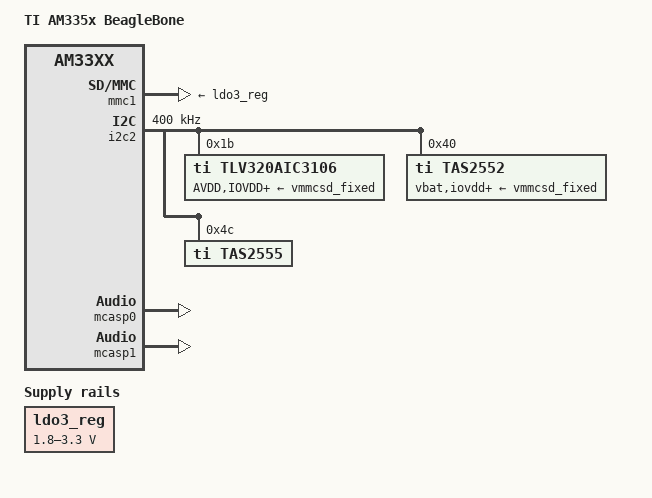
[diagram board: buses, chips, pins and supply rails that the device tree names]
/*
 * Copyright (C) 2012 Texas Instruments Incorporated - http://www.ti.com/
 *
 * This program is free software; you can redistribute it and/or modify
 * it under the terms of the GNU General Public License version 2 as
 * published by the Free Software Foundation.
 */
/dts-v1/;

#include "am33xx.dtsi"
#include "am335x-bone-common.dtsi"
#include <dt-bindings/sound/ti-mcasp.h>
#include <dt-bindings/sound/tas2555.h>

/ {
	model = "TI AM335x BeagleBone";
	compatible = "ti,am335x-bone", "ti,am33xx";

	sound0: sound@0 {
		compatible = "simple-audio-card";
		simple-audio-card,name = "BeagleBone-Cape";
		simple-audio-card,widgets =
			"Headphone", "Headphone Jack",
			"Line", "Line In";
		simple-audio-card,routing =
			"Headphone Jack",	"HPLOUT",
			"Headphone Jack",	"HPROUT",
			"LINE1L",		"Line In",
			"LINE1R",		"Line In";
		simple-audio-card,format = "i2s";
		simple-audio-card,bitclock-master = <&sound0_master>;
		simple-audio-card,frame-master = <&sound0_master>;

		status = "disabled";

		sound0_master: simple-audio-card,cpu {
			sound-dai = <&mcasp0>;
			system-clock-frequency = <24000000>;
			system-clock-id = <MCASP_CLK_HCLK_AUXCLK>;
		};

		simple-audio-card,codec {
			sound-dai = <&tlv320aic3106>;
			clocks = <&clkout2_ck>;
		};
	};

	sound1: sound@1 {
		compatible = "simple-audio-card";
		simple-audio-card,name = "BeagleBone-TAS2552";
		simple-audio-card,widgets =
			"Speaker", "Speaker Port";
		simple-audio-card,routing =
			"Speaker Port",	"OUT",
			"Speaker Port",	"OUT";
		simple-audio-card,format = "i2s";
		simple-audio-card,bitclock-master = <&sound1_master>;
		simple-audio-card,frame-master = <&sound1_master>;

		status = "disabled";

		sound1_master: simple-audio-card,cpu {
			sound-dai = <&mcasp0>;
			system-clock-frequency = <24000000>;
			system-clock-id = <MCASP_CLK_HCLK_AUXCLK>;
		};

		simple-audio-card,codec {
			sound-dai = <&tas2552>;
			clocks = <&clkout2_ck>;
		};
	};

	sound2: sound@2 {
		compatible = "simple-audio-card";
		simple-audio-card,name = "BeagleBone-TAS2555";
		simple-audio-card,widgets =
			"Speaker", "Speaker Port";
		simple-audio-card,routing =
			"Speaker Port",	"OUT",
			"Speaker Port",	"OUT";
		simple-audio-card,format = "i2s";
		simple-audio-card,bitclock-master = <&sound2_master>;
		simple-audio-card,frame-master = <&sound2_master>;

		status = "okay";

		sound2_master: simple-audio-card,cpu {
			sound-dai = <&mcasp0>;
			system-clock-frequency = <24000000>;
			system-clock-id = <MCASP_CLK_HCLK_AUXCLK>;
		};

		simple-audio-card,codec {
			sound-dai = <&tas2555 TAS2555_DAI_ASI1>;
			clocks = <&clkout2_ck>;
		};
	};
};

&am33xx_pinmux {
	mcasp0_pins: mcasp0_pins {
		pinctrl-single,pins = <
			0x194 (PIN_INPUT_PULLDOWN | MUX_MODE0) /* mcasp0_fsx.mcasp0_fsx */
			0x190 (PIN_INPUT_PULLDOWN | MUX_MODE0) /* mcasp0_aclkx.mcasp0_aclkx */
			0x1ac (PIN_OUTPUT_PULLDOWN | MUX_MODE2) /* mcasp0_ahclkx.mcasp0_axr3 */
			0x19c (PIN_INPUT_PULLDOWN | MUX_MODE2) /* mcasp0_ahclkr.mcasp0_axr2 */
		>;
	};

	mcasp0_pins_sleep: mcasp0_pins_sleep {
		pinctrl-single,pins = <
			0x194 (PIN_INPUT_PULLDOWN | MUX_MODE7)
			0x190 (PIN_INPUT_PULLDOWN | MUX_MODE7)
//			0x1ac (PIN_INPUT_PULLDOWN | MUX_MODE7)
			0x1ac (PIN_OUTPUT_PULLDOWN | MUX_MODE3) /* mcasp0_ahclkx.mcasp1_axr1 */
			0x19c (PIN_INPUT_PULLDOWN | MUX_MODE7)
		>;
	};

	mcasp1_pins: mcasp1_pins {
		pinctrl-single,pins = <
			0x1a4 (PIN_OUTPUT_PULLDOWN | MUX_MODE3) /* mcasp0_fsr.mcasp1_fsx */
			0x1a0 (PIN_OUTPUT_PULLDOWN | MUX_MODE3) /* mcasp0_aclkr.mcasp1_aclkx */
//			0x1a8 (PIN_OUTPUT_PULLDOWN | MUX_MODE2) /* mcasp0_axr1.mcasp1_axr0 */
//			0x1ac (PIN_OUTPUT_PULLDOWN | MUX_MODE3) /* mcasp0_ahclkx.mcasp1_axr1 */
		>;
	};

	mcasp1_pins_sleep: mcasp1_pins_sleep {
		pinctrl-single,pins = <
			0x1a4 (PIN_INPUT_PULLDOWN | MUX_MODE7)
			0x1a0 (PIN_INPUT_PULLDOWN | MUX_MODE7)
//			0x1a8 (PIN_INPUT_PULLDOWN | MUX_MODE7)
//			0x1ac (PIN_INPUT_PULLDOWN | MUX_MODE7)
			0x164 (PIN_OUTPUT | MUX_MODE7) /* ecap0_in_pwm0_out.gpio0_7*/
		>;
	};

	i2c2_pins: pinmux_i2c2_pins {
		pinctrl-single,pins = <
			0x178 (PIN_INPUT_PULLUP | MUX_MODE3)	/* uart1_ctsn.i2c2_sda */
			0x17c (PIN_INPUT_PULLUP | MUX_MODE3)	/* uart1_rtsn.i2c2_scl */
		>;
	};
};

&sysclkout_pre_ck {
	assigned-clocks = <&sysclkout_pre_ck>;
	assigned-clock-parents = <&lcd_gclk>;
};

&clkout2_div_ck {
	assigned-clocks = <&clkout2_div_ck>;
//	assigned-clock-rates = <12000000>; /* 12MHz */
	assigned-clock-rates = <8000000>; /* 8MHz */
};

&ldo3_reg {
	regulator-min-microvolt = <1800000>;
	regulator-max-microvolt = <3300000>;
	regulator-always-on;
};

&mmc1 {
	vmmc-supply = <&ldo3_reg>;
};

&i2c2 {
	pinctrl-names = "default";
	pinctrl-0 = <&i2c2_pins>;

	status = "okay";
	clock-frequency = <400000>;

	tlv320aic3106: tlv320aic3106@1b {
		#sound-dai-cells = <0>;
		compatible = "ti,tlv320aic3106";
		reg = <0x1b>;
		status = "okay";
		adc-settle-ms = <40>;

		AVDD-supply = <&vmmcsd_fixed>;
		IOVDD-supply = <&vmmcsd_fixed>;
		DRVDD-supply = <&vmmcsd_fixed>;
		DVDD-supply = <&vmmcsd_fixed>;
	};

	tlv320aic3253: tlv320aic3253@18 {
		#sound-dai-cells = <0>;
		compatible = "ti,tlv320aic3253";
		reg = <0x18>;
//		status = "okay";
		status = "disabled";
	};

	tas2552: tas2552@40 { // A0=0
		#sound-dai-cells = <0>;
		compatible = "ti,tas2552";
		reg = <0x40>; // A0 =0
		status = "okay";

		vbat-supply = <&vmmcsd_fixed>;
		iovdd-supply = <&vmmcsd_fixed>;
		avdd-supply = <&vmmcsd_fixed>;
	};

	tas2555: tas2555@4c {
		#sound-dai-cells = <1>;
		compatible = "ti,tas2555";
		reg = <0x4c>;
		status = "okay";
	};

};

&mcasp0 {
	#sound-dai-cells = <0>;
	pinctrl-names = "default", "sleep";
	pinctrl-0 = <&mcasp0_pins>;
	pinctrl-1 = <&mcasp0_pins_sleep>;

	status = "okay";

	op-mode = <0>;	/* MCASP_IIS_MODE */
	tdm-slots = <2>;
	/* 4 serializers */
	serial-dir = <	/* 0: INACTIVE, 1: TX, 2: RX */
		0 0 2 1
	>;
	tx-num-evt = <32>;
	rx-num-evt = <32>;
};

&mcasp1 {
	#sound-dai-cells = <0>;
	pinctrl-names = "default", "sleep";
	pinctrl-0 = <&mcasp1_pins>;
	pinctrl-1 = <&mcasp1_pins_sleep>;

	status = "okay";

	op-mode = <0>;	/* MCASP_IIS_MODE */
	tdm-slots = <2>;
	/* 4 serializers */
	serial-dir = <	/* 0: INACTIVE, 1: TX, 2: RX */
		0 1 0 0
	>;
	tx-num-evt = <32>;
	rx-num-evt = <32>;
};
